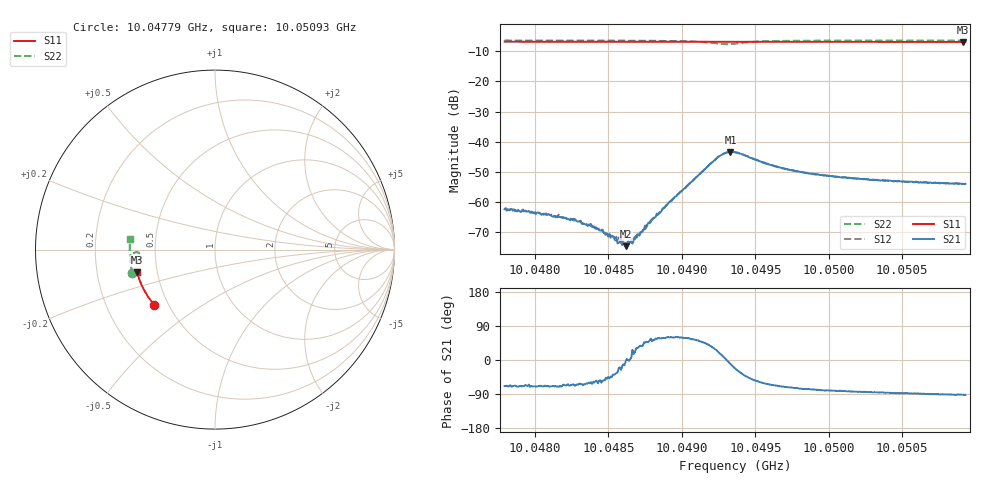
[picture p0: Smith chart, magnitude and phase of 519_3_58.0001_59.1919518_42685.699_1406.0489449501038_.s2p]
#  HZ  S  RI  R  50.00
! Rohde & Schwarz Vector Network Analyzer
! Rohde-Schwarz,ZNB20-2Port,1311601062101988,3.16
! Created: UTC 3/21/2024, 1:13:37 AM
! freq[Hz]  re:S11  im:S11  re:S21  im:S21  re:S12  im:S12  re:S22  im:S22
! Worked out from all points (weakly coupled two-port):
!   401 points, 10.04779 GHz to 10.05093 GHz, reference 50 ohm
!   highest |S21| = -43.39 dB at 10.04933 GHz (marker M1); lowest = -74.7 dB at 10.04862 GHz (marker M2)
!   lowest |S11| = -6.9 dB at 10.05092 GHz (marker M3), VSWR 2.65, Z = 19.2 - j6.13 ohm
!   |S11| at or under -10 dB: nowhere
!   |S22| runs from -7.7 to -6.4 dB; largest |S21 - S12| = 0.00047
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1.0047792e10  -0.3394 -0.3072  0.000276 -0.000707  0.000314 -0.000726  -0.4598 -0.132
1.0048083e10  -0.3514 -0.292  0.000217 -0.000578  0.000256 -0.000562  -0.4641 -0.1123
1.0048263e10  -0.3587 -0.2827  0.000225 -0.000474  0.000222 -0.00044  -0.4667 -0.0996
1.0048318e10  -0.3608 -0.2797  0.000196 -0.000397  0.000215 -0.00038  -0.4672 -0.0956
1.0048444e10  -0.3655 -0.273  0.000201 -0.000268  0.000211 -0.000268  -0.4684 -0.0862
1.0048499e10  -0.3677 -0.27  0.000189 -0.000188  0.000197 -0.000189  -0.469 -0.0822
1.0048538e10  -0.3691 -0.2679  0.000206 -0.000164  0.000206 -0.000139  -0.4691 -0.0789
1.0048608e10  -0.3717 -0.2641  0.000197 -4.95e-05  0.000204 -2.15e-05  -0.4697 -0.0733
1.0048616e10  -0.372 -0.2636  0.000184 -1.51e-05  0.000205 -3.17e-05  -0.4696 -0.0727
1.0048656e10  -0.3734 -0.2614  0.000219 2.66e-05  0.000233 5.68e-05  -0.4697 -0.0695
1.0048695e10  -0.3749 -0.2593  0.000243 0.000154  0.000218 0.000141  -0.4697 -0.0662
1.0048844e10  -0.3801 -0.251  0.000353 0.000559  0.000315 0.000563  -0.469 -0.0524
1.0048922e10  -0.3828 -0.2466  0.000511 0.000891  0.000454 0.00093  -0.4677 -0.0444
1.0049236e10  -0.3926 -0.2286  0.00473 0.00228  0.00461 0.00259  -0.4263 -0.0167
1.0049291e10  -0.3942 -0.2255  0.00641 0.00061  0.00637 0.000989  -0.413 -0.0317
1.004933e10  -0.3953 -0.2232  0.00666 -0.00124  0.00676 -0.000814  -0.413 -0.0468
1.0049362e10  -0.3963 -0.2217  0.00619 -0.0025  0.00636 -0.00212  -0.4192 -0.0566
1.0049644e10  -0.4051 -0.2052  0.00147 -0.00358  0.00169 -0.00351  -0.4672 -0.042
1.0049888e10  -0.4117 -0.1907  0.000625 -0.00287  0.000817 -0.00283  -0.4739 -0.0181
1.0050414e10  -0.4243 -0.1587  0.000126 -0.00224  0.000297 -0.00223  -0.4755 0.023
1.0050916e10  -0.4339 -0.1271  -5.29e-05 -0.00201  6.29e-05 -0.00199  -0.4723 0.058
1.0050932e10  -0.4342 -0.1262  -6.72e-05 -0.002  5.66e-05 -0.002  -0.4722 0.059
